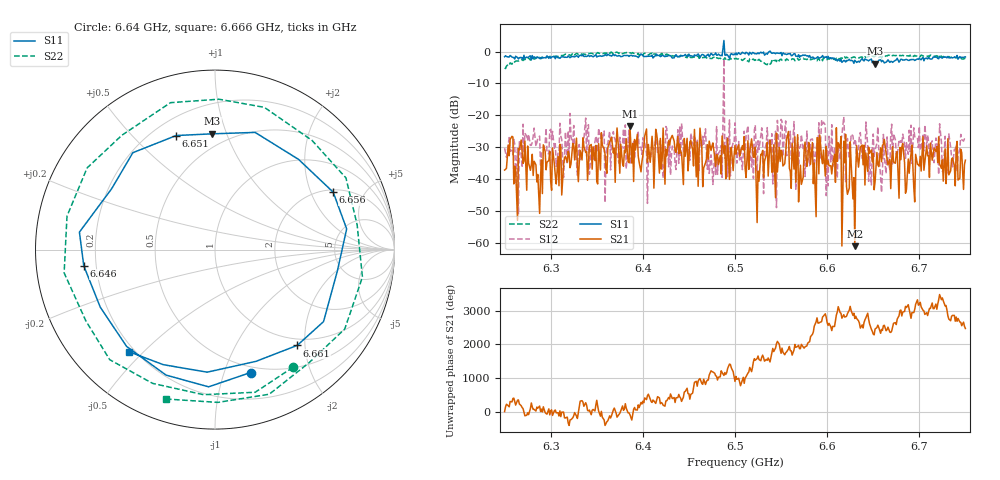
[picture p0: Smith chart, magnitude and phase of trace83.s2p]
# Hz S RI R 50
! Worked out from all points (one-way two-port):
!   401 points, 6.25 GHz to 6.75 GHz, reference 50 ohm
!   highest |S21| = -23.46 dB at 6.386 GHz (marker M1); lowest = -61.0 dB at 6.63 GHz (marker M2)
!   lowest |S11| = -3.8 dB at 6.652 GHz (marker M3), VSWR 4.64, Z = 20.2 + j44.6 ohm
!   |S11| at or under -10 dB: nowhere
!   |S22| runs from -5.3 to -0.2 dB; largest |S21 - S12| = 0.75
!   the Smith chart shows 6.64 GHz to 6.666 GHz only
!   S11 on the Smith chart (normalised r, x): 6.64 GHz: 0.44, -1.23; 6.646 GHz: 0.15, -0.06; 6.651 GHz: 0.29, +0.67; 6.656 GHz: 2.12, +2.92; 6.661 GHz: 0.87, -1.85; 6.666 GHz: 0.18, -0.45
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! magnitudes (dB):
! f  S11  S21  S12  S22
! 6.25 GHz  -1.6  -37.2  -30.3  -5.2
! 6.256 GHz  -1.2  -27.5  -31.3  -3.6
! 6.262 GHz  -1.5  -36.9  -41.0  -3.0
! 6.268 GHz  -1.8  -27.8  -32.6  -2.4
! 6.289 GHz  -1.9  -39.2  -36.1  -2.3
! 6.334 GHz  -1.3  -34.0  -31.7  -0.8
! 6.386 GHz  -1.2  -23.5  -35.4  -0.4
! 6.418 GHz  -1.2  -38.1  -28.9  -1.1
! 6.5 GHz  -1.0  -29.5  -22.4  -2.3
! 6.584 GHz  -1.7  -28.5  -27.4  -2.4
! 6.612 GHz  -2.4  -28.6  -29.4  -2.0
! 6.63 GHz  -2.7  -61.0  -27.5  -1.8
! 6.64 GHz  -2.9  -29.4  -31.1  -2.1
! 6.646 GHz  -2.7  -31.9  -33.0  -1.7
! 6.651 GHz  -3.5  -43.3  -32.9  -1.7
! 6.652 GHz  -3.8  -40.8  -30.9  -1.4
! 6.656 GHz  -2.7  -36.1  -31.1  -1.8
! 6.661 GHz  -3.1  -29.1  -26.0  -1.4
! 6.666 GHz  -2.6  -35.6  -33.9  -1.2
! 6.668 GHz  -3.4  -33.8  -37.0  -1.2
! 6.728 GHz  -1.8  -30.5  -26.6  -1.8
! 6.75 GHz  -1.7  -34.1  -27.7  -2.2
